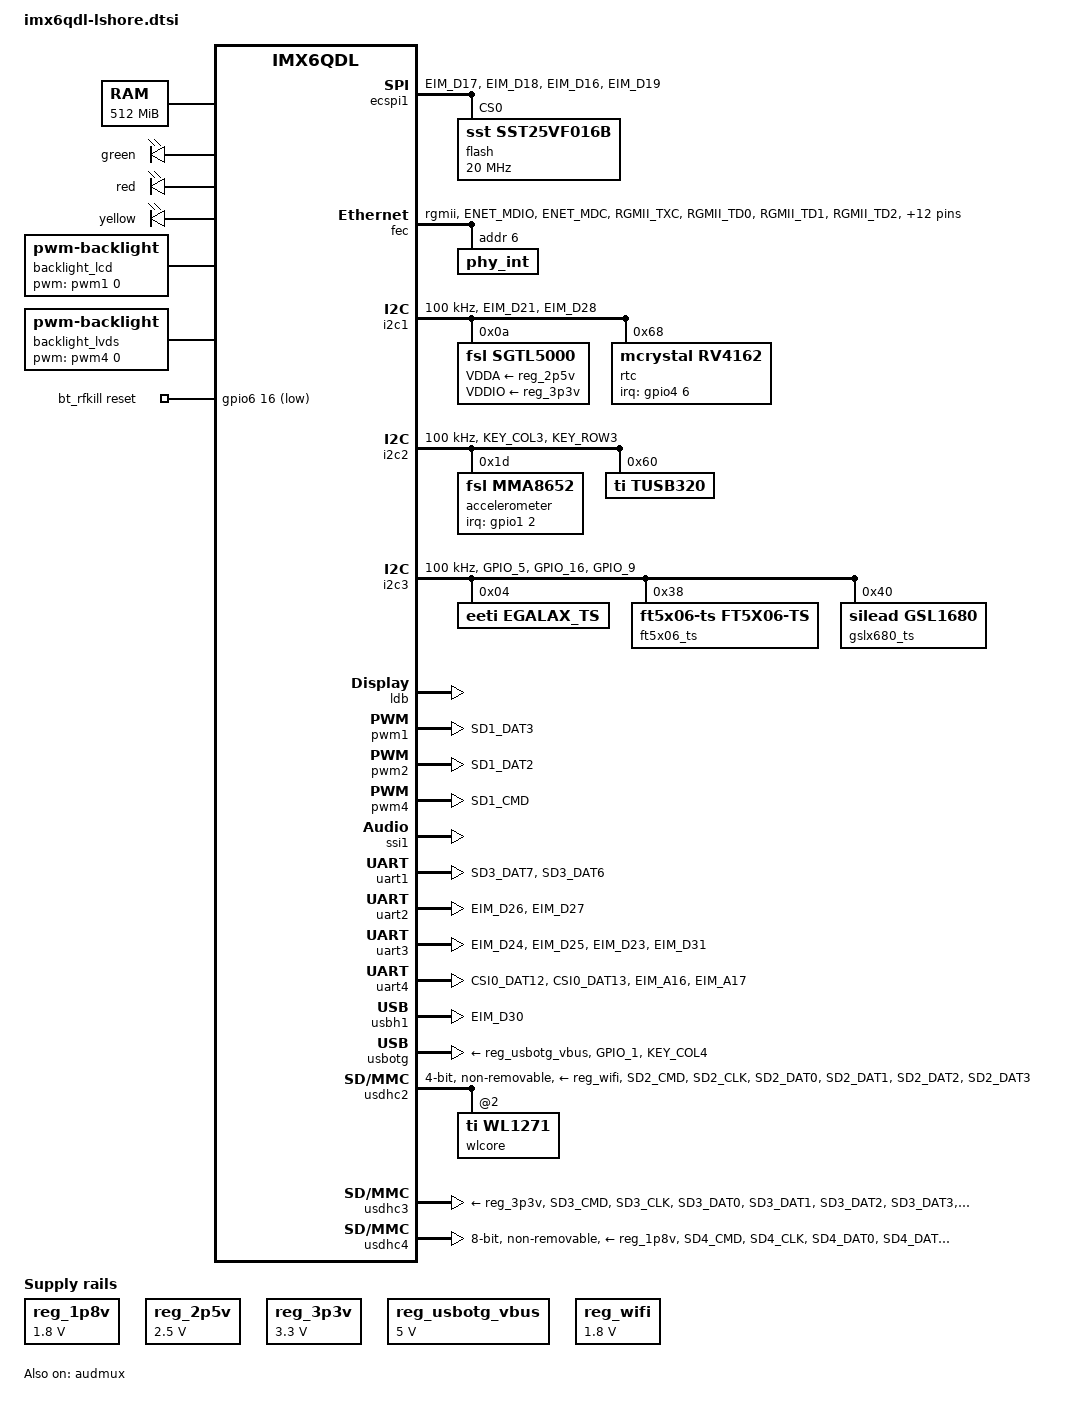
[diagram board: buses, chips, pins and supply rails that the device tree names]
/*
 * Copyright 2017 Boundary Devices
 *
 * The code contained herein is licensed under the GNU General Public
 * License. You may obtain a copy of the GNU General Public License
 * Version 2 or later at the following locations:
 *
 * http://www.opensource.org/licenses/gpl-license.html
 * http://www.gnu.org/copyleft/gpl.html
 */
#include <dt-bindings/gpio/gpio.h>
#include <dt-bindings/input/input.h>

/ {
	aliases {
		backlight_lcd = &backlight_lcd;
		backlight_lvds = &backlight_lvds;
		fb_lcd = &fb_lcd;
		fb_lvds = &fb_lvds;
		lcd = &lcd;
		ldb = &ldb;
		mmc0 = &usdhc3;
		mmc1 = &usdhc4;
		mmc2 = &usdhc2;
		mxcfb0 = &fb_lcd;
		mxcfb1 = &fb_lvds;
		pwm_lcd = &pwm1;
		pwm_lvds = &pwm4;
		t_lvds = &t_lvds;
	};

	memory {
		reg = <0x10000000 0x20000000>;
	};

	leds: leds {
		compatible = "gpio-leds";
	};

	regulators {
		compatible = "simple-bus";

		reg_1p8v: 1p8v {
			compatible = "regulator-fixed";
			regulator-name = "1P8V";
			regulator-min-microvolt = <1800000>;
			regulator-max-microvolt = <1800000>;
			regulator-always-on;
		};

		reg_2p5v: 2p5v {
			compatible = "regulator-fixed";
			regulator-name = "2P5V";
			regulator-min-microvolt = <2500000>;
			regulator-max-microvolt = <2500000>;
			regulator-always-on;
		};

		reg_3p3v: 3p3v {
			compatible = "regulator-fixed";
			regulator-name = "3P3V";
			regulator-min-microvolt = <3300000>;
			regulator-max-microvolt = <3300000>;
			regulator-always-on;
		};

		reg_usbotg_vbus: usbotg_vbus {
			compatible = "regulator-fixed";
			regulator-name = "usbotg_vbus";
			regulator-min-microvolt = <5000000>;
			regulator-max-microvolt = <5000000>;
		};

		reg_wifi: wlan {
			compatible = "regulator-fixed";
			regulator-name = "reg_wifi";
			regulator-min-microvolt = <1800000>;
			regulator-max-microvolt = <1800000>;
		};
	};

	sound_sgtl5000: sound_sgtl5000 {
		compatible = "fsl,imx6dl-lshore-sgtl5000",
			     "fsl,imx-audio-sgtl5000";
		model = "sgtl5000-audio";
		ssi-controller = <&ssi1>;
		audio-codec = <&sgtl5000>;
		audio-routing =
			"MIC_IN", "Mic Jack",
			"Mic Jack", "Mic Bias",
			"Headphone Jack", "HP_OUT";
		mux-int-port = <1>;
		mux-ext-port = <3>;
	};

	fb_lcd: fb@0 {
		compatible = "fsl,mxc_sdc_fb";
		disp_dev = "lcd";
		interface_pix_fmt = "RGB24";
		mode_str = "ASIT500MA6F5D";
		default_bpp = <16>;
		int_clk = <0>;
		late_init = <0>;
		status = "disabled";
	};

	fb_lvds: fb@1 {
		compatible = "fsl,mxc_sdc_fb";
		disp_dev = "ldb";
		interface_pix_fmt = "RGB666";
		default_bpp = <16>;
		int_clk = <0>;
		late_init = <0>;
		status = "disabled";
	};

	lcd: lcd@0 {
		compatible = "fsl,lcd";
		ipu_id = <0>;
		disp_id = <0>;
		default_ifmt = "RGB24";
		pinctrl-names = "default";
		pinctrl-0 = <&pinctrl_ipu1_di0>;
		status = "okay";
	};

	backlight_lcd: backlight_lcd {
		compatible = "pwm-backlight";
		pwms = <&pwm1 0 100000>;
		brightness-levels = <0 10 20 30 40 50 60 70 80 90 100>;
		default-brightness-level = <10>;
	};

	backlight_lvds: backlight_lvds {
		compatible = "pwm-backlight";
		pwms = <&pwm4 0 5000000>;
		brightness-levels = <0 4 8 16 32 64 128 255>;
		default-brightness-level = <7>;
	};

	v4l2_out {
		compatible = "fsl,mxc_v4l2_output";
		status = "okay";
	};

	bt_rfkill {
		compatible = "net,rfkill-gpio";
		pinctrl-names = "default";
		pinctrl-0 = <&pinctrl_bt_rfkill>;
		name = "bt_rfkill";
		type = <2>;	/* bluetooth */
		reset-gpios = <&gpio6 16 GPIO_ACTIVE_LOW>;
	};
};

&iomuxc {
	pinctrl-names = "default";
	pinctrl-0 = <&pinctrl_hog>;

	iomuxc_imx6q_lshore: iomuxc-imx6q-lshoregrp {
		status = "okay";
	};
};

&iomuxc_imx6q_lshore {
	pinctrl_hog: hoggrp {
		fsl,pins = <
			MX6QDL_PAD_GPIO_2__GPIO1_IO02	0x1b0b0	/* ACC_INT1 */
			MX6QDL_PAD_GPIO_3__GPIO1_IO03	0x1b0b0	/* ACC_INT2 */
#define GP_TUSB320_INT	<&gpio1 7 GPIO_ACTIVE_LOW>
			MX6QDL_PAD_GPIO_7__GPIO1_IO07	0x1b0b0	/* TUSB320_INT */
			MX6QDL_PAD_EIM_DA4__GPIO3_IO04	0x0b0b0	/* GPIO4 */
			MX6QDL_PAD_EIM_DA3__GPIO3_IO03	0x0b0b0	/* GPIO5 */
			MX6QDL_PAD_EIM_DA2__GPIO3_IO02	0x0b0b0	/* GPIO6 */
			MX6QDL_PAD_EIM_DA1__GPIO3_IO01	0x0b0b0	/* GPIO7 */
			MX6QDL_PAD_EIM_DA0__GPIO3_IO00	0x0b0b0	/* GPIO8 */
			MX6QDL_PAD_KEY_ROW0__GPIO4_IO07	0x0b0b0 /* GPIO10 */
			MX6QDL_PAD_KEY_COL1__GPIO4_IO08 0x0b0b0 /* GPIO11 */
			MX6QDL_PAD_KEY_ROW1__GPIO4_IO09 0x0b0b0 /* GPIO12 */
			MX6QDL_PAD_KEY_COL2__GPIO4_IO10 0x0b0b0 /* GPIO13 */
			MX6QDL_PAD_EIM_A21__GPIO2_IO17	0x0b0b0 /* SLEEP_PER */
			MX6QDL_PAD_GPIO_17__GPIO7_IO12		0x1b0b0	/* DISP0_CONTRAST */
#define GPIRQ_WL1271	<&gpio6 11 IRQ_TYPE_LEVEL_HIGH>
			MX6QDL_PAD_NANDF_CS0__GPIO6_IO11	0x100b0	/* WL12xx_wl_irq */
			MX6QDL_PAD_SD1_CLK__OSC32K_32K_OUT	0x000b0	/* TiWi slow clock */
#define GP_EMMC_RESET	<&gpio2 6 GPIO_ACTIVE_LOW>
			MX6QDL_PAD_NANDF_D6__GPIO2_IO06	0x0b0b0 /* eMMC reset */
		>;
	};

	pinctrl_audmux3: audmux3grp {
		fsl,pins = <
			MX6QDL_PAD_CSI0_DAT7__AUD3_RXD		0x130b0
			MX6QDL_PAD_CSI0_DAT4__AUD3_TXC		0x130b0
			MX6QDL_PAD_CSI0_DAT5__AUD3_TXD		0x110b0
			MX6QDL_PAD_CSI0_DAT6__AUD3_TXFS		0x130b0
		>;
	};

	pinctrl_bt_rfkill: bt-rfkillgrp {
		fsl,pins = <
#define GP_BT_RFKILL_RESET	<&gpio6 16 GPIO_ACTIVE_LOW>
			MX6QDL_PAD_NANDF_CS3__GPIO6_IO16	0x000b0
		>;
	};

	pinctrl_ecspi1: ecspi1grp {
		fsl,pins = <
			MX6QDL_PAD_EIM_D17__ECSPI1_MISO		0x100b1
			MX6QDL_PAD_EIM_D18__ECSPI1_MOSI		0x100b1
			MX6QDL_PAD_EIM_D16__ECSPI1_SCLK		0x100b1
#define GP_ECSPI1_NOR_CS		<&gpio3 19 GPIO_ACTIVE_LOW>
			MX6QDL_PAD_EIM_D19__GPIO3_IO19		0x000b1
		>;
	};

	pinctrl_enet: enetgrp {
		fsl,pins = <
			MX6QDL_PAD_ENET_MDIO__ENET_MDIO		0x1b0b0
			MX6QDL_PAD_ENET_MDC__ENET_MDC		0x1b0b0
			MX6QDL_PAD_RGMII_TXC__RGMII_TXC		0x1b0b0
			MX6QDL_PAD_RGMII_TD0__RGMII_TD0		0x1b0b0
			MX6QDL_PAD_RGMII_TD1__RGMII_TD1		0x1b0b0
			MX6QDL_PAD_RGMII_TD2__RGMII_TD2		0x1b0b0
			MX6QDL_PAD_RGMII_TD3__RGMII_TD3		0x1b0b0
			MX6QDL_PAD_RGMII_TX_CTL__RGMII_TX_CTL	0x1b0b0
			MX6QDL_PAD_ENET_REF_CLK__ENET_TX_CLK	0x1b0b0
			MX6QDL_PAD_RGMII_RXC__RGMII_RXC		0x1b0b0
			MX6QDL_PAD_RGMII_RD0__RGMII_RD0		0x1b0b0
			MX6QDL_PAD_RGMII_RD1__RGMII_RD1		0x1b0b0
			MX6QDL_PAD_RGMII_RD2__RGMII_RD2		0x1b0b0
			MX6QDL_PAD_RGMII_RD3__RGMII_RD3		0x1b0b0
			MX6QDL_PAD_RGMII_RX_CTL__RGMII_RX_CTL	0x1b0b0
#define GP_ENET_PHY_RESET		<&gpio1 27 GPIO_ACTIVE_LOW>
			MX6QDL_PAD_ENET_RXD0__GPIO1_IO27	0x0f0b0
#define GP_ENET_PHY_INT			<&gpio1 28 IRQ_TYPE_LEVEL_LOW>
			MX6QDL_PAD_ENET_TX_EN__GPIO1_IO28	0x1b0b0
			MX6QDL_PAD_GPIO_6__ENET_IRQ		0x000b1
		>;
	};

	pinctrl_i2c1: i2c1grp {
		fsl,pins = <
			MX6QDL_PAD_EIM_D21__I2C1_SCL		0x4001b8b1
			MX6QDL_PAD_EIM_D28__I2C1_SDA		0x4001b8b1
		>;
	};

	pinctrl_i2c2: i2c2grp {
		fsl,pins = <
			MX6QDL_PAD_KEY_COL3__I2C2_SCL		0x4001b8b1
			MX6QDL_PAD_KEY_ROW3__I2C2_SDA		0x4001b8b1
		>;
	};

	pinctrl_i2c3: i2c3grp {
		fsl,pins = <
			MX6QDL_PAD_GPIO_5__I2C3_SCL		0x4001b8b1
			MX6QDL_PAD_GPIO_16__I2C3_SDA		0x4001b8b1
#define GPIRQ_GSLX680			<&gpio1 9 IRQ_TYPE_LEVEL_HIGH>
#define GPIRQ_TOUCH			<&gpio1 9 IRQ_TYPE_LEVEL_LOW>
#define GP_TOUCH			<&gpio1 9 GPIO_ACTIVE_LOW>
			MX6QDL_PAD_GPIO_9__GPIO1_IO09		0x1b0b0
		>;
	};

	pinctrl_ipu1_di0: ipu1_di0grp {
		fsl,pins = <
			MX6QDL_PAD_DI0_DISP_CLK__IPU1_DI0_DISP_CLK 0x10
			MX6QDL_PAD_DI0_PIN15__IPU1_DI0_PIN15       0x10		/* DRDY */
			MX6QDL_PAD_DI0_PIN2__IPU1_DI0_PIN02        0x10		/* HSYNC */
			MX6QDL_PAD_DI0_PIN3__IPU1_DI0_PIN03        0x10		/* VSYNC */
			MX6QDL_PAD_DISP0_DAT0__IPU1_DISP0_DATA00   0x10
			MX6QDL_PAD_DISP0_DAT1__IPU1_DISP0_DATA01   0x10
			MX6QDL_PAD_DISP0_DAT2__IPU1_DISP0_DATA02   0x10
			MX6QDL_PAD_DISP0_DAT3__IPU1_DISP0_DATA03   0x10
			MX6QDL_PAD_DISP0_DAT4__IPU1_DISP0_DATA04   0x10
			MX6QDL_PAD_DISP0_DAT5__IPU1_DISP0_DATA05   0x10
			MX6QDL_PAD_DISP0_DAT6__IPU1_DISP0_DATA06   0x10
			MX6QDL_PAD_DISP0_DAT7__IPU1_DISP0_DATA07   0x10
			MX6QDL_PAD_DISP0_DAT8__IPU1_DISP0_DATA08   0x10
			MX6QDL_PAD_DISP0_DAT9__IPU1_DISP0_DATA09   0x10
			MX6QDL_PAD_DISP0_DAT10__IPU1_DISP0_DATA10  0x10
			MX6QDL_PAD_DISP0_DAT11__IPU1_DISP0_DATA11  0x10
			MX6QDL_PAD_DISP0_DAT12__IPU1_DISP0_DATA12  0x10
			MX6QDL_PAD_DISP0_DAT13__IPU1_DISP0_DATA13  0x10
			MX6QDL_PAD_DISP0_DAT14__IPU1_DISP0_DATA14  0x10
			MX6QDL_PAD_DISP0_DAT15__IPU1_DISP0_DATA15  0x10
			MX6QDL_PAD_DISP0_DAT16__IPU1_DISP0_DATA16  0x10
			MX6QDL_PAD_DISP0_DAT17__IPU1_DISP0_DATA17  0x10
			MX6QDL_PAD_DISP0_DAT18__IPU1_DISP0_DATA18  0x10
			MX6QDL_PAD_DISP0_DAT19__IPU1_DISP0_DATA19  0x10
			MX6QDL_PAD_DISP0_DAT20__IPU1_DISP0_DATA20  0x10
			MX6QDL_PAD_DISP0_DAT21__IPU1_DISP0_DATA21  0x10
			MX6QDL_PAD_DISP0_DAT22__IPU1_DISP0_DATA22  0x10
			MX6QDL_PAD_DISP0_DAT23__IPU1_DISP0_DATA23  0x10
		>;
	};

	pinctrl_leds: ledsgrp {
		fsl,pins = <
#define GP_LED_GREEN			<&gpio3 8 GPIO_ACTIVE_HIGH>
			MX6QDL_PAD_EIM_DA8__GPIO3_IO08		0x030b0
#define GP_LED_RED			<&gpio3 6 GPIO_ACTIVE_HIGH>
			MX6QDL_PAD_EIM_DA6__GPIO3_IO06		0x030b0
#define GP_LED_YELLOW			<&gpio3 5 GPIO_ACTIVE_HIGH>
			MX6QDL_PAD_EIM_DA5__GPIO3_IO05		0x030b0
		>;
	};

	pinctrl_pwm1: pwm1grp {
		fsl,pins = <
			MX6QDL_PAD_SD1_DAT3__PWM1_OUT		0x1b0b1
		>;
	};

	pinctrl_pwm2: pwm2grp {
		fsl,pins = <
			MX6QDL_PAD_SD1_DAT2__PWM2_OUT		0x1b0b1
		>;
	};

	pinctrl_pwm4: pwm4grp {
		fsl,pins = <
			MX6QDL_PAD_SD1_CMD__PWM4_OUT		0x1b0b1
		>;
	};

	pinctrl_reg_wifi: reg_wifigrp {
		fsl,pins = <
#define GP_WL_EN		<&gpio6 15 GPIO_ACTIVE_HIGH>
			MX6QDL_PAD_NANDF_CS2__GPIO6_IO15	0x000b0
		>;
	};

	pinctrl_rtc: rtcgrp {
		fsl,pins = <
#define GP_RTC_IRQ			<&gpio4 6 IRQ_TYPE_LEVEL_LOW>
			MX6QDL_PAD_KEY_COL0__GPIO4_IO06		0x1b0b0
		>;
	};

	pinctrl_sgtl5000: sgtl5000grp {
		fsl,pins = <
			MX6QDL_PAD_GPIO_0__CCM_CLKO1		0x000b0		/* sys_mclk */
#define GP_SGTL5000_MUTE		<&gpio1 29 GPIO_ACTIVE_LOW>
			MX6QDL_PAD_ENET_TXD1__GPIO1_IO29	0x1b0b0
		>;
	};

	pinctrl_uart1: uart1grp {
		fsl,pins = <
			MX6QDL_PAD_SD3_DAT7__UART1_TX_DATA	0x1b0b1
			MX6QDL_PAD_SD3_DAT6__UART1_RX_DATA	0x1b0b1
		>;
	};

	pinctrl_uart2: uart2grp {
		fsl,pins = <
			MX6QDL_PAD_EIM_D26__UART2_TX_DATA	0x1b0b1
			MX6QDL_PAD_EIM_D27__UART2_RX_DATA	0x1b0b1
		>;
	};

	pinctrl_uart3: uart3grp {
		fsl,pins = <
			MX6QDL_PAD_EIM_D24__UART3_TX_DATA	0x1b0b1
			MX6QDL_PAD_EIM_D25__UART3_RX_DATA	0x1b0b1
			MX6QDL_PAD_EIM_D23__UART3_CTS_B		0x1b0b1
			MX6QDL_PAD_EIM_D31__UART3_RTS_B		0x1b0b1
		>;
	};

	pinctrl_uart4: uart4grp {
		fsl,pins = <
			MX6QDL_PAD_CSI0_DAT12__UART4_TX_DATA	0x1b0b1
			MX6QDL_PAD_CSI0_DAT13__UART4_RX_DATA	0x1b0b1
			MX6QDL_PAD_EIM_A16__GPIO2_IO22		0x0b0b0 /* CP2103_RESET */
			MX6QDL_PAD_EIM_A17__GPIO2_IO21		0x1b0b0 /* CP_SUSPEND */
		>;
	};

	pinctrl_usbh1: usbh1grp {
		fsl,pins = <
			MX6QDL_PAD_EIM_D30__USB_H1_OC		0x1b0b0
		>;
	};

	pinctrl_usbotg: usbotggrp {
		fsl,pins = <
			MX6QDL_PAD_GPIO_1__USB_OTG_ID		0x17059
			MX6QDL_PAD_KEY_COL4__USB_OTG_OC		0x1b0b0
		>;
	};

	pinctrl_usbotg_vbus: usbotg_vbusgrp {
		fsl,pins = <
			/* power enable, high active */
#define GP_USB_OTG_PWR		<&gpio3 22 GPIO_ACTIVE_HIGH>
			MX6QDL_PAD_EIM_D22__GPIO3_IO22		0x030b0
		>;
	};

	pinctrl_usdhc2: usdhc2grp {
		fsl,pins = <
			MX6QDL_PAD_SD2_CMD__SD2_CMD		0x17071
			MX6QDL_PAD_SD2_CLK__SD2_CLK		0x10071
			MX6QDL_PAD_SD2_DAT0__SD2_DATA0		0x17071
			MX6QDL_PAD_SD2_DAT1__SD2_DATA1		0x17071
			MX6QDL_PAD_SD2_DAT2__SD2_DATA2		0x17071
			MX6QDL_PAD_SD2_DAT3__SD2_DATA3		0x17071
		>;
	};

	pinctrl_usdhc3_50mhz: usdhc3_50mhzgrp {
		fsl,pins = <
			MX6QDL_PAD_SD3_CMD__SD3_CMD		0x17059
			MX6QDL_PAD_SD3_CLK__SD3_CLK		0x10059
			MX6QDL_PAD_SD3_DAT0__SD3_DATA0		0x17059
			MX6QDL_PAD_SD3_DAT1__SD3_DATA1		0x17059
			MX6QDL_PAD_SD3_DAT2__SD3_DATA2		0x17059
			MX6QDL_PAD_SD3_DAT3__SD3_DATA3		0x17059
#define GP_SD3_WP			<&gpio7 1 GPIO_ACTIVE_LOW>
			MX6QDL_PAD_SD3_DAT4__GPIO7_IO01		0x1b0b0
#define GP_SD3_CD			<&gpio7 0 GPIO_ACTIVE_LOW>
			MX6QDL_PAD_SD3_DAT5__GPIO7_IO00		0x1b0b0
		>;
	};

	pinctrl_usdhc4: usdhc4grp {
		fsl,pins = <
			MX6QDL_PAD_SD4_CMD__SD4_CMD    0x17059
			MX6QDL_PAD_SD4_CLK__SD4_CLK    0x10059
			MX6QDL_PAD_SD4_DAT0__SD4_DATA0 0x17059
			MX6QDL_PAD_SD4_DAT1__SD4_DATA1 0x17059
			MX6QDL_PAD_SD4_DAT2__SD4_DATA2 0x17059
			MX6QDL_PAD_SD4_DAT3__SD4_DATA3 0x17059
			MX6QDL_PAD_SD4_DAT4__SD4_DATA4 0x17059
			MX6QDL_PAD_SD4_DAT5__SD4_DATA5 0x17059
			MX6QDL_PAD_SD4_DAT6__SD4_DATA6 0x17059
			MX6QDL_PAD_SD4_DAT7__SD4_DATA7 0x17059
		>;
	};
};

&audmux {
	pinctrl-names = "default";
	pinctrl-0 = <&pinctrl_audmux3>;
	status = "okay";
};

&ecspi1 {
	fsl,spi-num-chipselects = <1>;
	cs-gpios = GP_ECSPI1_NOR_CS;
	pinctrl-names = "default";
	pinctrl-0 = <&pinctrl_ecspi1>;
	status = "okay";

	flash: m25p80@0 {
		compatible = "sst,sst25vf016b";
		spi-max-frequency = <20000000>;
		reg = <0>;
		#address-cells = <1>;
		#size-cells = <1>;
		mtd0@00000000 {
			label = "U-Boot";
			reg = <0x0 0xC0000>;
		};

		mtd@000C0000 {
			label = "env";
			reg = <0xC0000 0x2000>;
		};
		mtd@000C2000 {
			label = "splash";
			reg = <0xC2000 0x13e000>;
		};
	};
};

&fec {
	pinctrl-names = "default";
	pinctrl-0 = <&pinctrl_enet>;
	phy-mode = "rgmii";
#if 0
	phy-reset-gpios = GP_ENET_PHY_RESET;
#endif
	interrupts-extended = <&gpio1 6 IRQ_TYPE_LEVEL_HIGH>,
			      <&intc 0 119 IRQ_TYPE_LEVEL_HIGH>;
	status = "okay";

	#address-cells = <0>;
	#size-cells = <1>;
	phy_int {
		reg = <0x6>;
		interrupts-extended = GP_ENET_PHY_INT;
	};
};

&i2c1 {
	clock-frequency = <100000>;
	pinctrl-names = "default";
	pinctrl-0 = <&pinctrl_i2c1>;
	status = "okay";

	sgtl5000: sgtl5000@0a {
		compatible = "fsl,sgtl5000";
		pinctrl-names = "default";
		pinctrl-0 = <&pinctrl_sgtl5000>;
		reg = <0x0a>;
		clocks = <&clks 201>;
		VDDA-supply = <&reg_2p5v>;
		VDDIO-supply = <&reg_3p3v>;
	};

	rtc@68 {
		compatible = "mcrystal,rv4162";
		reg = <0x68>;
		interrupt-parent = <&gpio4>;
		interrupts = <6 IRQ_TYPE_LEVEL_LOW>;
	};
};

&i2c2 {
	clock-frequency = <100000>;
	pinctrl-names = "default";
	pinctrl-0 = <&pinctrl_i2c2>;
	status = "okay";

	accelerometer@1d {
		compatible = "fsl,mma8652";
		reg = <0x1d>;
		position = <0>;
		interrupt-parent = <&gpio1>;
		interrupts = <2 IRQ_TYPE_LEVEL_LOW>;
		interrupt-route = <1>;
	};

	tusb320@60 {
		compatible = "ti,tusb320";
		reg = <0x60>;
		tusb320,int-gpio = GP_TUSB320_INT;
		tusb320,select-mode = <0>;
		tusb320,dfp-power = <0>;
	};
};

&i2c3 {
	clock-frequency = <100000>;
	pinctrl-names = "default";
	pinctrl-0 = <&pinctrl_i2c3>;
	status = "okay";

	egalax_ts@04 {
		compatible = "eeti,egalax_ts";
		reg = <0x04>;
		interrupts-extended = GPIRQ_TOUCH;
		wakeup-gpios = GP_TOUCH;
	};

	ft5x06_ts@38 {
		compatible = "ft5x06-ts,ft5x06-ts";
		reg = <0x38>;
		interrupts-extended = GPIRQ_TOUCH;
		wakeup-gpios = GP_TOUCH;
	};

	gslx680_ts@40 {
		compatible = "silead,gsl1680";
		reg = <0x40>;
		interrupts-extended = GPIRQ_GSLX680;
		touchscreen-size-x = <480>;	/* swapped below */
		touchscreen-size-y = <800>;
		touchscreen-swapped-x-y;
	};
};

&ldb {
	status = "okay";

	lvds-channel@0 {
		crtc = "ipu1-di0";
		fsl,data-mapping = "spwg";
		fsl,data-width = <18>;
		status = "okay";
		primary;

		display-timings {
			t_lvds: t_lvds_default {
				/* lg1280x800 values may be changed in bootscript */
				clock-frequency = <72000000>;
				hactive = <1280>;
				vactive = <800>;
				hback-porch = <48>;
				hfront-porch = <80>;
				vback-porch = <15>;
				vfront-porch = <2>;
				hsync-len = <32>;
				vsync-len = <6>;
			};
		};
	};
};

&leds {
	pinctrl-names = "default";
	pinctrl-0 = <&pinctrl_leds>;

	green {
		gpios = GP_LED_GREEN;
		retain-state-suspended;
		default-state = "off";
	};

	red {
		gpios = GP_LED_RED;
		retain-state-suspended;
		default-state = "off";
	};

	yellow {
		gpios = GP_LED_YELLOW;
		retain-state-suspended;
		default-state = "off";
	};
};

&pwm1 {
	pinctrl-names = "default";
	pinctrl-0 = <&pinctrl_pwm1>;
	status = "okay";
};

&pwm2 {
	pinctrl-names = "default";
	pinctrl-0 = <&pinctrl_pwm2>;
	status = "okay";
};

&pwm4 {
	pinctrl-names = "default";
	pinctrl-0 = <&pinctrl_pwm4>;
	status = "okay";
};

&reg_wifi {
	pinctrl-names = "default";
	pinctrl-0 = <&pinctrl_reg_wifi>;
	gpio = GP_WL_EN;
	startup-delay-us = <70000>;
	enable-active-high;
};

&reg_usbotg_vbus {
	pinctrl-names = "default";
	pinctrl-0 = <&pinctrl_usbotg_vbus>;
	gpio = GP_USB_OTG_PWR;
	enable-active-high;
};

&ssi1 {
	fsl,mode = "i2s-slave";
	status = "okay";
};

&uart1 {
	pinctrl-names = "default";
	pinctrl-0 = <&pinctrl_uart1>;
	status = "okay";
};

&uart2 {
	pinctrl-names = "default";
	pinctrl-0 = <&pinctrl_uart2>;
	status = "okay";
};

&uart3 {
	pinctrl-names = "default";
	pinctrl-0 = <&pinctrl_uart3>;
	fsl,uart-has-rtscts;
	status = "okay";
};

&uart4 {
	pinctrl-names = "default";
	pinctrl-0 = <&pinctrl_uart4>;
	status = "okay";
};

&usbh1 {
	pinctrl-names = "default";
	pinctrl-0 = <&pinctrl_usbh1>;
	status = "okay";
};

&usbotg {
	vbus-supply = <&reg_usbotg_vbus>;
	pinctrl-names = "default";
	pinctrl-0 = <&pinctrl_usbotg>;
	status = "okay";
};

&usdhc2 {	/* WiFi */
	pinctrl-names = "default";
	pinctrl-0 = <&pinctrl_usdhc2>;
	bus-width = <4>;
	non-removable;
	vmmc-supply = <&reg_wifi>;
	vqmmc-1-8-v;
	ocr-limit = <0x180>;     /* 1.65v - 2.1v */
	power-off-card;
	keep-power-in-suspend;
	status = "okay";

	#address-cells = <1>;
	#size-cells = <0>;
	wlcore: wlcore@2 {
		compatible = "ti,wl1271";
		interrupts-extended = GPIRQ_WL1271;
		reg = <2>;
		ref-clock-frequency = <38400000>;
	};
};

&usdhc3 {
	pinctrl-names = "default";
	pinctrl-0 = <&pinctrl_usdhc3_50mhz>;
	cd-gpios = GP_SD3_CD;
	vmmc-supply = <&reg_3p3v>;
	status = "okay";
};

&usdhc4 {
	pinctrl-names = "default";
	pinctrl-0 = <&pinctrl_usdhc4>;
	bus-width = <8>;
	non-removable;
	vqmmc-1-8-v;
	vmmc-supply = <&reg_1p8v>;
	ocr-limit = <0x80>;     /* 1.65v - 1.95v */
	keep-power-in-suspend;
	status = "okay";
};
